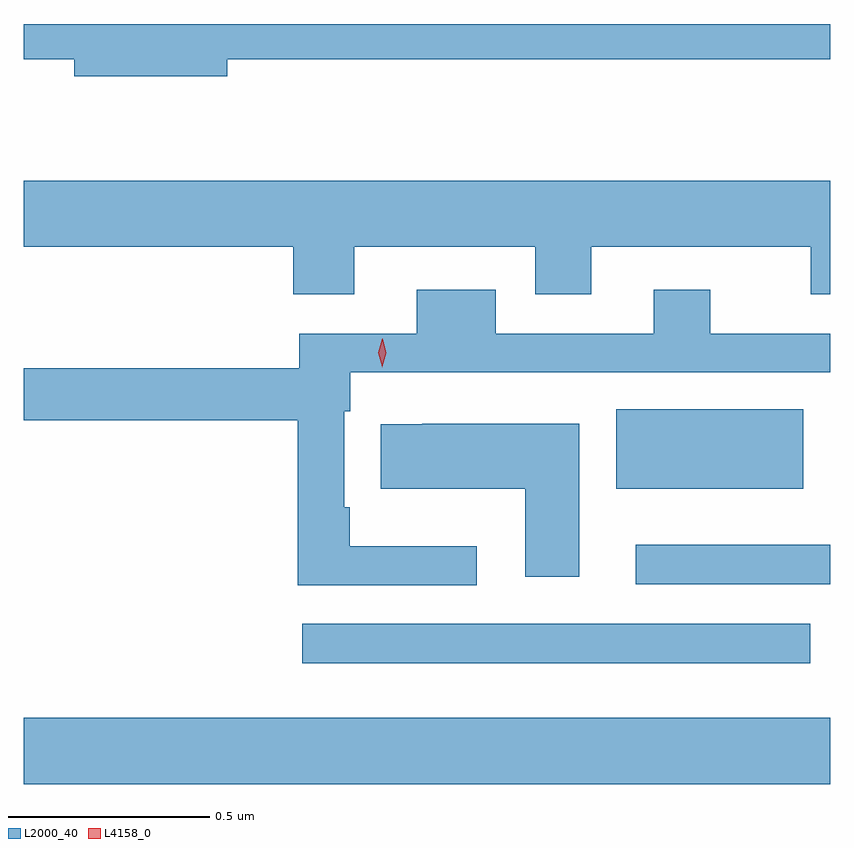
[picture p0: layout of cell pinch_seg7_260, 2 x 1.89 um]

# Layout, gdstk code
import gdstk
lib = gdstk.Library(unit=1e-6, precision=1e-09)
def R(c, l, rs):  # rectangles x0, y0, x1, y1
    for r in rs: c.add(gdstk.rectangle(r[:2], r[2:], *l))
def P(c, l, *ps):  # polygons
    for p in ps: c.add(gdstk.Polygon(p, *l))
L2000_40 = (2000, 40)
L4158_0 = (4158, 0)

pinch_seg7_260 = lib.new_cell('pinch_seg7_260')
R(pinch_seg7_260, L2000_40, [(824.781,1060.556,826.781,1060.72), (825.471,1060.856,826.732,1060.953), (826.299,1061.052,826.781,1061.149), (826.25,1061.288,826.714,1061.485)])
P(pinch_seg7_260, L2000_40, [(825.286,1062.354),(826.781,1062.354),(826.781,1062.441),(824.781,1062.441),(824.781,1062.354),(824.906,1062.354),(824.906,1062.311),(825.286,1062.311)],
  [(825.601,1061.888),(826.049,1061.888),(826.049,1061.771),(826.189,1061.771),(826.189,1061.888),(826.733,1061.888),(826.733,1061.771),(826.781,1061.771),(826.781,1062.052),(824.781,1062.052),(824.781,1061.888),(825.449,1061.888),(825.449,1061.771),(825.601,1061.771)],
  [(825.904,1061.146),(825.589,1061.146),(825.589,1061.242),(825.576,1061.242),(825.576,1061.48),(825.591,1061.48),(825.591,1061.577),(826.781,1061.577),(826.781,1061.673),(826.483,1061.673),(826.483,1061.782),(826.343,1061.782),(826.343,1061.673),(825.952,1061.673),(825.952,1061.782),(825.755,1061.782),(825.755,1061.673),(825.464,1061.673),(825.464,1061.587),(824.781,1061.587),(824.781,1061.458),(825.46,1061.458),(825.46,1061.049),(825.904,1061.049)],
  [(826.159,1061.449),(825.769,1061.449),(825.769,1061.448),(825.666,1061.448),(825.666,1061.288),(826.025,1061.288),(826.025,1061.07),(826.159,1061.07)])
P(pinch_seg7_260, L4158_0, [(825.67,1061.59),(825.67,1061.591),(825.66,1061.625),(825.67,1061.66),(825.671,1061.66),(825.671,1061.66),(825.68,1061.625),(825.67,1061.591)])

lib.write_gds('pinch_seg7_260.gds')
